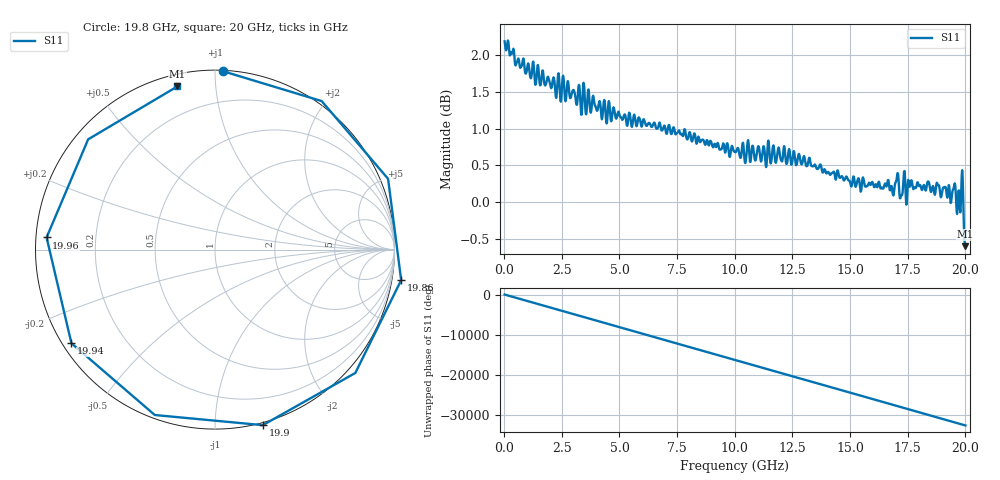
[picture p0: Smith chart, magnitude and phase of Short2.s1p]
! File created by SignalIntegrity v1.1.10: Signal and Power Integrity Tools
! https://github.com/TeledyneLeCroy/SignalIntegrity
# MHz S MA R 50.0
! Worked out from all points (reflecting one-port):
!   1000 points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, 20 MHz to 20 GHz, reference 50 ohm
!   lowest |S11| = -0.6 dB at 20 GHz (marker M1), VSWR 28.81, Z = 2.83 + j39.7 ohm
!   phase of S11 starts at 147 deg and turns -32804 deg over the sweep
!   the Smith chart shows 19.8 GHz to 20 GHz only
!   S11 on the Smith chart (normalised r, x): 19.8 GHz: 0.00, +1.04; 19.86 GHz: -3, -11; 19.9 GHz: -0.02, -1.31; 19.94 GHz: 0.03, -0.30; 19.96 GHz: 0.03, +0.04; 20 GHz: 0.06, +0.79
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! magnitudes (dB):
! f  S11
! 20 MHz  2.2
! 580 MHz  1.9
! 2.52 GHz  1.6
! 5.02 GHz  1.2
! 7.52 GHz  0.9
! 10.02 GHz  0.7
! 12.52 GHz  0.6
! 15.02 GHz  0.2
! 16.38 GHz  0.2
! 16.58 GHz  0.2
! 16.82 GHz  0.2
! 17.02 GHz  0.3
! 17.2 GHz  0.1
! 17.3 GHz  0.2
! 17.52 GHz  0.3
! 17.6 GHz  0.2
! 18.4 GHz  0.3
! 18.6 GHz  0.2
! 18.8 GHz  0.2
! 19.3 GHz  0.2
! 19.5 GHz  0.2
! 19.7 GHz  0.2
! 19.8 GHz  0.0
! 19.86 GHz  0.4
! 19.9 GHz  0.1
! 19.94 GHz  -0.4
! 19.96 GHz  -0.5
! 20 GHz  -0.6
